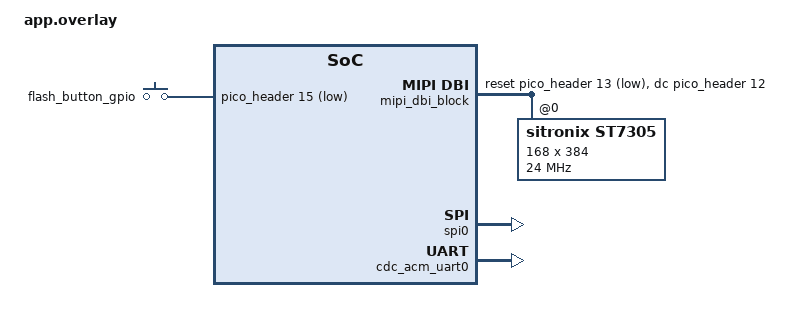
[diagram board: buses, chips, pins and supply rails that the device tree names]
#include <dt-bindings/gpio/gpio.h>
#include <dt-bindings/mipi_dbi/mipi_dbi.h>
#include <dt-bindings/dma/rpi-pico-dma-rp2040.h>

/ {
    aliases {
        flashbutton = &flash_button_gpio;
    };

    buttons {
        compatible = "gpio-keys";
        flash_button_gpio: flash_button {
            gpios = <&pico_header 15 (GPIO_PULL_UP | GPIO_ACTIVE_LOW)>;
        };
    };
};

// &dma  { status = "okay";  };

&spi0 {
    status = "okay";
    pinctrl-0 = <&spi0_default>;
    pinctrl-names = "default";

    // dmas = <&dma 0 RPI_PICO_DMA_SLOT_SPI0_TX 0>, <&dma 1 RPI_PICO_DMA_SLOT_SPI0_RX 0>;
    // dma-names = "tx", "rx";

    cs-gpios = <&pico_header 17 GPIO_ACTIVE_LOW>;
    #address-cells = <1>;
    #size-cells = <0>;
};

/ {
    mipi_dbi_block {
        compatible = "zephyr,mipi-dbi-spi";
        spi-dev = <&spi0>;
        dc-gpios = <&pico_header 12 GPIO_ACTIVE_HIGH>;
        reset-gpios = <&pico_header 13 GPIO_ACTIVE_LOW>;
        write-only;
        #address-cells = <1>;
        #size-cells = <0>;

        st7305: st7305@0 {
            compatible = "sitronix,st7305";
            mipi-max-frequency = <24000000>;
            mipi-mode = "MIPI_DBI_MODE_SPI_4WIRE";
            reg = <0>;
            width = <168>;
            height = <384>;
            start-line = <0>;
            start-column = <48>; // (264-physical width)/2
            nvm-load = [13 02];
            gate-voltages = [08 06];
            vsh = [3C 3E 3C 3C];
            vsl = [23 21 23 23];
            vshn = [5A 5C 5A 5A];
            vsln = [37 35 37 37];
            osc-settings = <0xA6>;
            framerate = <0x05>;
            multiplex-ratio = <0x60>;
            source-voltage = <0>;
            remap-value = <0x48>;
            panel-settings = <0x29>;
            // inversion-on;

            hpm-gate-waveform = [E5 F6 17 77 77 77 77 77 77 71];
            lpm-gate-waveform = [05 46 77 77 77 77 76 45];
        };
    };

    /* 5. 告知 Zephyr 系统的默认显示器指向该屏幕 */
    chosen {
        zephyr,display = &st7305;
        zephyr,console = &cdc_acm_uart0;
    };
};

&zephyr_udc0 {
    cdc_acm_uart0: cdc_acm_uart0 {
        compatible = "zephyr,cdc-acm-uart";
    };
};

